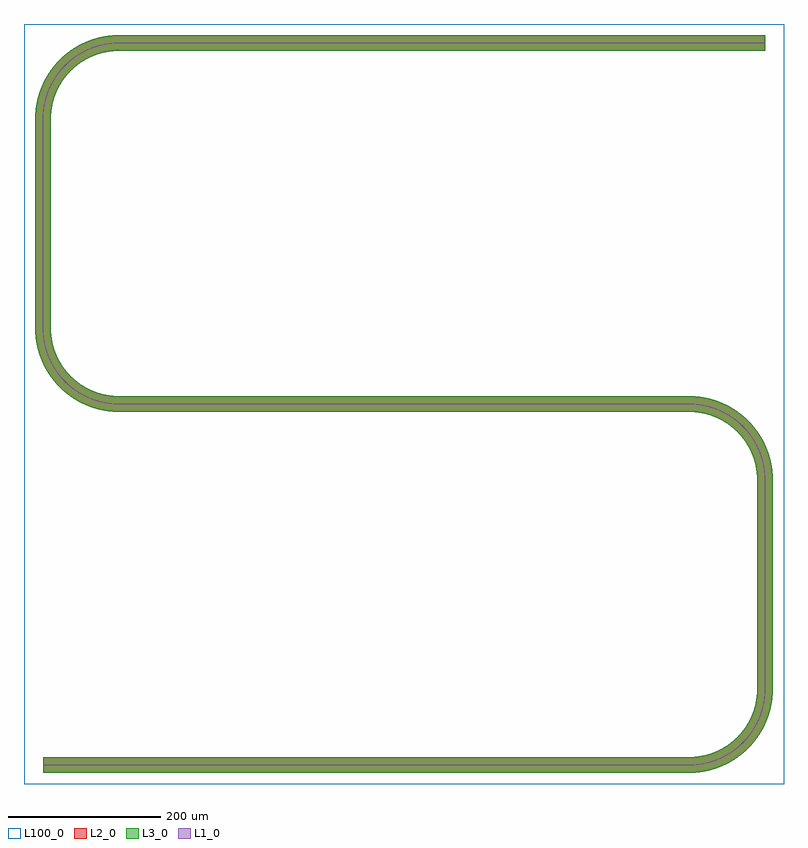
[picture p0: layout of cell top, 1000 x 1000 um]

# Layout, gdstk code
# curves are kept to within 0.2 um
import gdstk
lib = gdstk.Library(unit=1e-6, precision=1e-09)
def R(c, l, rs):  # rectangles x0, y0, x1, y1
    for r in rs: c.add(gdstk.rectangle(r[:2], r[2:], *l))
def P(c, l, *ps):  # polygons
    for p in ps: c.add(gdstk.Polygon(p, *l))
L1_0 = (1, 0)
L2_0 = (2, 0)
L3_0 = (3, 0)
L100_0 = (100, 0)

waveguide_1 = lib.new_cell('Waveguide_1')
R(waveguide_1, L1_0, [(25,24.775,875,25.225), (974.775,125,975.225,400), (125,499.775,875,500.225), (24.775,600,25.225,875), (125,974.775,975,975.225)])
P(waveguide_1, L1_0, [(875,24.775),(878.199,24.826),(881.395,24.979),(884.585,25.234),(887.765,25.591),(890.931,26.049),(894.082,26.608),(897.837,27.411),(900.94,28.19),(904.017,29.067),(907.065,30.043),(910.08,31.115),(913.059,32.282),(915.999,33.544),(919.472,35.182),(922.316,36.647),(925.112,38.203),(924.887,38.592),(921.541,36.745),(918.127,35.027),(915.233,33.696),(911.706,32.222),(906.316,30.267),(900.824,28.625),(895.246,27.301),(889.601,26.299),(885.809,25.812),(882.002,25.471),(878.822,25.298),(875,25.225)],
  [(925.112,38.203),(927.858,39.846),(930.549,41.577),(933.184,43.393),(936.267,45.681),(938.767,47.677),(941.203,49.752),(943.571,51.904),(945.87,54.13),(948.096,56.429),(950.248,58.797),(952.323,61.233),(954.319,63.733),(956.607,66.816),(958.423,69.451),(960.154,72.142),(961.797,74.888),(961.408,75.112),(959.433,71.839),(957.335,68.644),(955.116,65.532),(953.177,63.005),(949.487,58.617),(945.552,54.448),(941.383,50.513),(936.995,46.823),(934.468,44.884),(931.356,42.665),(928.161,40.567),(924.887,38.592)],
  [(961.797,74.888),(963.353,77.684),(964.818,80.528),(966.456,84.001),(967.718,86.941),(968.885,89.92),(969.957,92.935),(970.933,95.983),(971.81,99.06),(972.589,102.163),(973.392,105.918),(973.951,109.069),(974.409,112.235),(974.766,115.415),(975.021,118.605),(975.174,121.801),(975.225,125),(974.775,125),(974.702,121.178),(974.529,117.998),(974.188,114.191),(973.701,110.399),(972.699,104.754),(971.375,99.176),(969.733,93.684),(967.778,88.294),(966.304,84.767),(964.973,81.873),(963.255,78.459),(961.408,75.112)],
  [(975.225,400),(975.174,403.199),(975.021,406.395),(974.766,409.585),(974.409,412.765),(973.951,415.931),(973.392,419.082),(972.589,422.837),(971.81,425.94),(970.933,429.017),(969.957,432.065),(968.885,435.08),(967.718,438.059),(966.456,440.999),(964.818,444.472),(963.353,447.316),(961.797,450.112),(961.408,449.887),(963.255,446.541),(964.973,443.127),(966.304,440.233),(967.778,436.706),(969.733,431.316),(971.375,425.824),(972.699,420.246),(973.701,414.601),(974.188,410.809),(974.529,407.002),(974.702,403.822),(974.775,400)],
  [(961.797,450.112),(960.154,452.858),(958.423,455.549),(956.607,458.184),(954.319,461.267),(952.323,463.767),(950.248,466.203),(948.096,468.571),(945.87,470.87),(943.571,473.096),(941.203,475.248),(938.767,477.323),(936.267,479.319),(933.184,481.607),(930.549,483.423),(927.858,485.154),(925.112,486.797),(924.887,486.408),(928.161,484.433),(931.356,482.335),(934.468,480.116),(936.995,478.177),(941.383,474.487),(945.552,470.552),(949.487,466.383),(953.177,461.995),(955.116,459.468),(957.335,456.356),(959.433,453.161),(961.408,449.887)],
  [(925.112,486.797),(922.316,488.353),(919.472,489.818),(915.999,491.456),(913.059,492.718),(910.08,493.885),(907.065,494.957),(904.017,495.933),(900.94,496.81),(897.837,497.589),(894.082,498.392),(890.931,498.951),(887.765,499.409),(884.585,499.766),(881.395,500.021),(878.199,500.174),(875,500.225),(875,499.775),(878.822,499.702),(882.002,499.529),(885.809,499.188),(889.601,498.701),(895.246,497.699),(900.824,496.375),(906.316,494.733),(911.706,492.778),(915.233,491.304),(918.127,489.973),(921.541,488.255),(924.887,486.408)],
  [(125,499.775),(121.801,499.826),(118.605,499.979),(115.415,500.234),(112.235,500.591),(109.069,501.049),(105.918,501.608),(102.163,502.411),(99.06,503.19),(95.983,504.067),(92.935,505.043),(89.92,506.115),(86.941,507.282),(84.001,508.544),(80.528,510.182),(77.684,511.647),(74.887,513.203),(75.112,513.592),(78.459,511.745),(81.873,510.027),(84.767,508.696),(88.294,507.222),(93.684,505.267),(99.176,503.625),(104.754,502.301),(110.399,501.299),(114.191,500.812),(117.998,500.471),(121.178,500.298),(125,500.225)],
  [(74.887,513.203),(72.142,514.846),(69.451,516.577),(66.816,518.393),(63.733,520.681),(61.233,522.677),(58.797,524.752),(56.429,526.904),(54.13,529.13),(51.904,531.429),(49.752,533.797),(47.677,536.233),(45.681,538.733),(43.393,541.816),(41.577,544.451),(39.846,547.142),(38.203,549.888),(38.592,550.112),(40.567,546.839),(42.665,543.644),(44.884,540.532),(46.823,538.005),(50.513,533.617),(54.448,529.448),(58.617,525.513),(63.005,521.823),(65.532,519.884),(68.644,517.665),(71.839,515.567),(75.112,513.592)],
  [(38.203,549.888),(36.647,552.684),(35.182,555.528),(33.544,559.001),(32.282,561.941),(31.115,564.92),(30.043,567.935),(29.067,570.983),(28.19,574.06),(27.411,577.163),(26.608,580.918),(26.049,584.069),(25.591,587.235),(25.234,590.415),(24.979,593.605),(24.826,596.801),(24.775,600),(25.225,600),(25.298,596.178),(25.471,592.998),(25.812,589.191),(26.299,585.399),(27.301,579.754),(28.625,574.176),(30.267,568.684),(32.222,563.294),(33.696,559.767),(35.027,556.873),(36.745,553.459),(38.592,550.112)],
  [(24.775,875),(24.826,878.199),(24.979,881.395),(25.234,884.585),(25.591,887.765),(26.049,890.931),(26.608,894.082),(27.411,897.837),(28.19,900.94),(29.067,904.017),(30.043,907.065),(31.115,910.08),(32.282,913.059),(33.544,915.999),(35.182,919.472),(36.647,922.316),(38.203,925.112),(38.592,924.888),(36.745,921.541),(35.027,918.127),(33.696,915.233),(32.222,911.706),(30.267,906.316),(28.625,900.824),(27.301,895.246),(26.299,889.601),(25.812,885.809),(25.471,882.002),(25.298,878.822),(25.225,875)],
  [(38.203,925.112),(39.846,927.858),(41.577,930.549),(43.393,933.184),(45.681,936.267),(47.677,938.767),(49.752,941.203),(51.904,943.571),(54.13,945.87),(56.429,948.096),(58.797,950.248),(61.233,952.323),(63.733,954.319),(66.816,956.607),(69.451,958.423),(72.142,960.154),(74.888,961.797),(75.112,961.408),(71.839,959.433),(68.644,957.335),(65.532,955.116),(63.005,953.177),(58.617,949.487),(54.448,945.552),(50.513,941.383),(46.823,936.995),(44.884,934.468),(42.665,931.356),(40.567,928.161),(38.592,924.888)],
  [(74.888,961.797),(77.684,963.353),(80.528,964.818),(84.001,966.456),(86.941,967.718),(89.92,968.885),(92.935,969.957),(95.983,970.933),(99.06,971.81),(102.163,972.589),(105.918,973.392),(109.069,973.951),(112.235,974.409),(115.415,974.766),(118.605,975.021),(121.801,975.174),(125,975.225),(125,974.775),(121.178,974.702),(117.998,974.529),(114.191,974.188),(110.399,973.701),(104.754,972.699),(99.176,971.375),(93.684,969.733),(88.294,967.778),(84.767,966.304),(81.873,964.973),(78.459,963.255),(75.112,961.408)])
R(waveguide_1, L2_0, [(25,14.775,875,35.225), (964.775,125,985.225,400), (125,489.775,875,510.225), (14.775,600,35.225,875), (125,964.775,975,985.225)])
P(waveguide_1, L2_0, [(875,14.775),(882.736,15.047),(889.736,15.764),(896.676,16.927),(903.528,18.531),(910.264,20.568),(916.856,23.031),(923.909,26.22),(930.112,29.542),(919.887,47.253),(914.32,44.294),(909.09,41.949),(898.235,38.284),(892.655,36.978),(886.434,35.956),(875,35.225)],
  [(930.112,29.542),(936.676,33.646),(942.38,37.767),(947.809,42.245),(952.941,47.059),(957.755,52.191),(962.233,57.62),(966.354,63.324),(970.458,69.888),(952.747,80.112),(949.725,75.243),(946.048,70.121),(938.481,61.519),(929.879,53.952),(924.757,50.275),(919.887,47.253)],
  [(970.458,69.888),(973.78,76.091),(976.969,83.144),(979.432,89.736),(981.469,96.472),(983.073,103.324),(984.236,110.264),(984.953,117.264),(985.225,125),(964.775,125),(964.044,113.566),(963.022,107.345),(961.716,101.765),(958.051,90.91),(955.706,85.68),(952.747,80.112)],
  [(985.225,400),(984.953,407.736),(984.236,414.736),(983.073,421.676),(981.469,428.528),(979.432,435.264),(976.969,441.856),(973.78,448.909),(970.458,455.112),(952.747,444.887),(955.706,439.32),(958.051,434.09),(961.716,423.235),(963.022,417.655),(964.044,411.434),(964.775,400)],
  [(970.458,455.112),(966.354,461.676),(962.233,467.38),(957.755,472.809),(952.941,477.941),(947.809,482.755),(942.38,487.233),(936.676,491.354),(930.112,495.458),(919.887,477.747),(924.757,474.725),(929.879,471.048),(938.481,463.481),(946.048,454.879),(949.725,449.757),(952.747,444.887)],
  [(930.112,495.458),(923.909,498.78),(916.856,501.969),(910.264,504.432),(903.528,506.469),(896.676,508.073),(889.736,509.236),(882.736,509.953),(875,510.225),(875,489.775),(886.434,489.044),(892.655,488.022),(898.235,486.716),(909.09,483.051),(914.32,480.706),(919.887,477.747)],
  [(125,489.775),(117.264,490.047),(110.264,490.764),(103.324,491.927),(96.472,493.531),(89.736,495.568),(83.144,498.031),(76.091,501.22),(69.887,504.542),(80.112,522.253),(85.68,519.294),(90.91,516.949),(101.765,513.284),(107.345,511.978),(113.566,510.956),(125,510.225)],
  [(69.887,504.542),(63.324,508.646),(57.62,512.767),(52.191,517.245),(47.059,522.059),(42.245,527.191),(37.767,532.62),(33.646,538.324),(29.542,544.888),(47.253,555.112),(50.275,550.243),(53.952,545.121),(61.519,536.519),(70.121,528.952),(75.243,525.275),(80.112,522.253)],
  [(29.542,544.888),(26.22,551.091),(23.031,558.144),(20.568,564.736),(18.531,571.472),(16.927,578.324),(15.764,585.264),(15.047,592.264),(14.775,600),(35.225,600),(35.956,588.566),(36.978,582.345),(38.284,576.765),(41.949,565.91),(44.294,560.68),(47.253,555.112)],
  [(14.775,875),(15.047,882.736),(15.764,889.736),(16.927,896.676),(18.531,903.528),(20.568,910.264),(23.031,916.856),(26.22,923.909),(29.542,930.112),(47.253,919.888),(44.294,914.32),(41.949,909.09),(38.284,898.235),(36.978,892.655),(35.956,886.434),(35.225,875)],
  [(29.542,930.112),(33.646,936.676),(37.767,942.38),(42.245,947.809),(47.059,952.941),(52.191,957.755),(57.62,962.233),(63.324,966.354),(69.888,970.458),(80.112,952.747),(75.243,949.725),(70.121,946.048),(61.519,938.481),(53.952,929.879),(50.275,924.757),(47.253,919.888)],
  [(69.888,970.458),(76.091,973.78),(83.144,976.969),(89.736,979.432),(96.472,981.469),(103.324,983.073),(110.264,984.236),(117.264,984.953),(125,985.225),(125,964.775),(113.566,964.044),(107.345,963.022),(101.765,961.716),(90.91,958.051),(85.68,955.706),(80.112,952.747)])

top = lib.new_cell('top')
R(top, L3_0, [(964.775,125,974.775,400), (14.775,600,24.775,875), (898.789,964.775,975,974.775)])
P(top, L3_0, [(27.567,896.492),(25.812,885.809),(25.225,875),(25.227,599.363),(25.883,588.557),(27.567,578.508)],
  [(27.567,576.508),(25.436,588.506),(24.775,600),(14.775,600),(14.957,593.669),(15.585,586.66),(16.659,579.706),(18.004,573.516),(19.912,566.743),(21.996,560.762),(24.709,554.269),(27.567,548.46)],
  [(36.031,587.998),(35.446,593.699),(35.225,600),(35.225,875),(35.446,881.301),(36.031,887.002),(36.031,920.16),(31.098,908.726),(29.137,902.665),(27.567,896.492),(27.567,578.508),(29.137,572.335),(31.098,566.274),(36.031,554.84)],
  [(36.031,553.853),(31.115,564.92),(27.567,576.508),(27.567,548.46),(31.35,541.868),(36.031,534.93)],
  [(36.109,887.57),(37.332,894.338),(38.906,900.443),(41.106,906.958),(43.654,912.978),(43.654,932.774),(39.564,926.533),(36.031,920.16)],
  [(39.236,549.013),(43.654,542.226),(43.654,562.022),(41.106,568.042),(38.906,574.557),(37.211,581.223),(36.031,587.998),(36.031,554.84)],
  [(37.57,551),(36.031,553.853),(36.031,534.93),(43.654,525.62),(43.654,541.453)],
  [(43.798,913.287),(49.029,922.832),(55.355,931.649),(55.355,946.447),(49.255,939.944),(43.654,932.774)],
  [(55.355,543.351),(49.029,552.168),(43.654,562.022),(43.654,542.226),(49.255,535.056),(55.355,528.553)],
  [(55.355,527.927),(49.331,534.279),(43.654,541.453),(43.654,525.62),(49.075,520.094),(55.355,514.566)],
  [(55.376,931.675),(61.926,938.885),(69.669,945.697),(69.669,958.027),(62.507,952.78),(55.355,946.447)],
  [(69.669,529.303),(61.926,536.115),(55.355,543.351),(55.355,528.553),(62.507,522.22),(69.669,516.973)],
  [(69.669,516.433),(62.225,521.869),(55.355,527.927),(55.355,514.566),(55.962,514.074),(62.742,509.041),(69.669,504.669)],
  [(70.121,946.048),(77.654,951.275),(85.68,955.706),(85.68,966.7),(77.336,962.654),(69.669,958.027),(69.669,945.697)],
  [(76.22,512.962),(85.68,508.3),(85.68,519.294),(77.654,523.725),(69.669,529.303),(69.669,516.973)],
  [(71.111,503.846),(77.992,500.301),(85.68,497.027),(85.68,507.81),(77.684,511.647),(69.669,516.433),(69.669,504.669)],
  [(86.196,955.955),(94.655,959.491),(103.508,962.164),(103.508,972.433),(94.289,969.931),(85.68,966.7),(85.68,955.706)],
  [(103.508,512.836),(94.655,515.509),(85.68,519.294),(85.68,508.3),(91.274,506.098),(97.335,504.137),(103.508,502.567)],
  [(103.508,502.107),(94.76,504.446),(85.68,507.81),(85.68,497.027),(91.073,495.126),(103.508,491.891)],
  [(103.987,962.281),(112.998,963.969),(122.452,964.738),(122.452,974.742),(112.925,974.042),(103.508,972.433),(103.508,962.164)],
  [(122.452,510.262),(112.998,511.031),(103.508,512.836),(103.508,502.567),(112.925,500.958),(122.452,500.258)],
  [(122.452,499.808),(112.87,500.512),(103.508,502.107),(103.508,491.891),(113.058,490.424),(122.452,489.805)],
  [(122.707,964.746),(898.789,964.775),(898.789,974.775),(123.726,974.767),(122.452,974.742),(122.452,964.738)],
  [(898.789,507.628),(887.641,509.498),(875.704,510.223),(122.452,510.262),(122.452,500.258),(875.64,500.223),(887.13,499.488),(898.789,497.36)],
  [(123.72,499.783),(122.452,499.808),(122.452,489.805),(122.889,489.795),(875.573,489.773),(881.301,489.554),(887.57,488.891),(898.789,486.566),(898.789,496.897),(887.707,498.962),(876.911,499.757)],
  [(929.502,495.808),(922.008,499.699),(914.895,502.752),(906.912,505.504),(898.789,507.628),(898.789,497.36),(905.849,495.359),(912.466,492.959),(918.897,490.1),(925.113,486.797),(930.113,495.458)],
  [(924.888,486.408),(918.7,489.696),(912.298,492.542),(905.711,494.931),(898.789,496.897),(898.789,486.566),(909.62,482.831),(919.888,477.747)],
  [(875.637,25.227),(887.075,25.958),(898.354,27.997),(909.325,31.315),(919.842,35.87),(921.858,36.913),(921.858,48.424),(916.877,45.59),(911.2,42.847),(905.345,40.509),(899.892,38.745),(894.338,37.332),(888.137,36.191),(881.872,35.488),(876.146,35.232),(25,35.225),(25,25.225)],
  [(922.104,37.044),(931.88,43.026),(940.906,50.09),(949.062,58.143),(956.609,67.598),(956.609,87.591),(953.593,81.61),(950.041,75.721),(946.048,70.121),(942.022,65.27),(937.665,60.714),(932.56,56.106),(927.583,52.236),(921.858,48.424),(921.858,36.913)],
  [(956.974,68.12),(961.087,74.562),(964.696,81.3),(967.542,87.702),(970.125,94.896),(972.15,102.266),(973.606,109.769),(974.482,117.362),(974.775,125),(964.775,125),(964.247,115.274),(962.668,105.662),(960.057,96.279),(956.609,87.591),(956.609,67.598)],
  [(24.777,875.64),(25.436,886.494),(27.268,897.213),(30.249,907.67),(34.441,917.943),(34.441,937.838),(28.166,927.657),(22.766,916.204),(18.715,904.208),(16.067,891.826),(15.098,883.438),(14.775,875),(24.775,875)],
  [(34.621,918.321),(37.884,924.557),(41.577,930.549),(45.681,936.267),(50.604,942.159),(55.963,947.657),(61.233,952.323),(66.816,956.607),(73.234,960.822),(73.234,972.312),(62.162,965.559),(52.191,957.755),(43.181,948.859),(35.25,938.989),(34.441,937.838)],
  [(73.783,961.15),(79.385,964.243),(85.172,966.972),(91.122,969.326),(97.21,971.295),(103.411,972.872),(109.701,974.05),(116.052,974.825),(122.44,975.192),(975,975.225),(975,985.225),(122.185,985.189),(110.264,984.236),(98.516,981.996),(87.08,978.497),(76.091,973.78),(73.234,972.312),(73.234,960.822)],
  [(927.078,490.201),(924.927,486.476),(925.113,486.797),(925.666,486.476),(926.217,486.15),(926.766,485.822),(927.078,485.632)],
  [(927.078,485.105),(924.888,486.408),(919.888,477.747),(927.078,473.126)],
  [(875.704,14.777),(887.641,15.502),(900.115,17.674),(911.595,21.027),(922.644,25.604),(927.078,27.854),(927.078,39.368),(921.184,36.05),(915.414,33.284),(908.878,30.674),(902.79,28.705),(895.963,26.992),(889.666,25.854),(883.31,25.12),(876.92,24.793),(25,24.775),(25,14.775)],
  [(944.037,485.927),(937.258,490.959),(930.113,495.458),(927.078,490.201),(927.078,485.632),(935.759,479.708),(944.037,472.657)],
  [(944.037,472.033),(935.992,478.963),(927.078,485.105),(927.078,473.126),(936.002,465.865),(944.037,457.388)],
  [(927.657,28.166),(936.091,33.254),(944.037,39.073),(944.037,52.343),(935.759,45.292),(927.078,39.368),(927.078,27.854)],
  [(957.343,473.275),(950.925,479.906),(944.037,485.927),(944.037,472.657),(951.087,465.237),(957.343,457.137)],
  [(957.343,456.344),(951.158,464.459),(944.037,472.033),(944.037,457.388),(948.098,452.117),(951.576,446.858),(954.675,441.369),(957.343,435.764)],
  [(944.038,39.074),(950.925,45.094),(957.343,51.725),(957.343,67.863),(951.087,59.763),(944.037,52.343)],
  [(962.43,449),(966.304,441.335),(966.304,461.75),(962.233,467.38),(957.343,473.275),(957.343,457.137)],
  [(957.755,52.191),(962.233,57.62),(966.304,63.25),(966.304,83.665),(962.116,75.443),(957.343,67.863),(957.343,51.725)],
  [(960.764,450.987),(957.343,456.344),(957.343,435.764),(960.591,427.087),(962.907,418.216),(964.307,409.156),(964.775,400),(966.304,400),(966.304,440.233)],
  [(974.431,447.571),(970.458,455.113),(966.304,461.75),(966.304,441.335),(969.108,434.479),(971.471,427.174),(973.268,419.71),(974.431,412.588)],
  [(974.431,408.273),(973.403,416.489),(971.697,424.591),(969.325,432.524),(966.304,440.233),(966.304,400),(974.431,400)],
  [(966.354,63.324),(970.808,70.498),(974.431,77.429),(974.431,112.412),(973.268,105.29),(971.471,97.826),(969.108,90.521),(966.304,83.665)],
  [(974.699,77.992),(978.973,88.405),(982.163,99.2),(984.236,110.264),(985.169,121.481),(985.225,400),(984.498,412.641),(982.484,424.429),(978.973,436.595),(974.431,447.571),(974.431,412.588),(975.225,400),(975.225,125),(974.431,112.412),(974.431,77.429)],
  [(974.773,400.637),(974.675,404.458),(974.431,408.273),(974.431,400),(974.775,400)])
R(top, L100_0, [(0,0,1000,1000)])
top.add(gdstk.Reference(waveguide_1, (0,0)))

lib.write_gds('top.gds')
